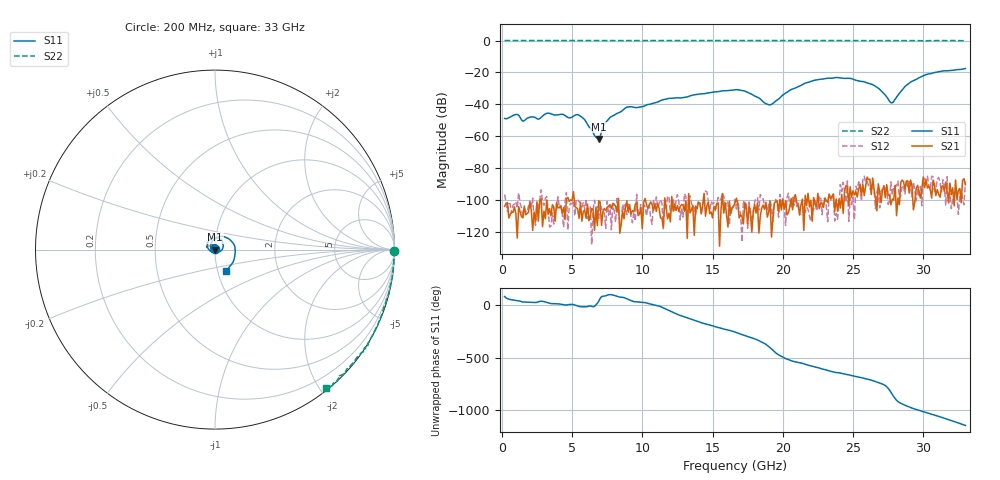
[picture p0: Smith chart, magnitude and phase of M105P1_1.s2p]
# GHZ S RI R 50
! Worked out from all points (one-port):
!   329 points, 200 MHz to 33 GHz, reference 50 ohm
!   lowest |S11| = -61.8 dB at 6.9 GHz (marker M1), VSWR 1.00, Z = 50.1 + j0.0493 ohm
!   |S11| at or under -10 dB: start of sweep to end of sweep
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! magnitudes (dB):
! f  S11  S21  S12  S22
! 200 MHz  -48.8  -103.9  -96.5  0.0
! 1.1 GHz  -46.3  -123.8  -105.2  0.0
! 1.5 GHz  -50.5  -111.0  -111.6  0.0
! 3.3 GHz  -45.5  -108.9  -106.0  0.0
! 5.7 GHz  -48.1  -113.2  -104.4  0.0
! 6.9 GHz  -61.8  -100.5  -111.5  0.0
! 7.3 GHz  -52.4  -105.3  -108.8  0.0
! 7.8 GHz  -47.6  -105.2  -118.7  0.0
! 8.9 GHz  -41.8  -100.5  -109.1  0.0
! 11.2 GHz  -38.2  -105.3  -102.0  0.0
! 16.6 GHz  -30.9  -101.9  -99.7  0.0
! 19.1 GHz  -40.3  -100.5  -100.7  0.0
! 20.6 GHz  -30.7  -99.1  -104.1  0.0
! 22.1 GHz  -25.3  -113.2  -106.2  0.0
! 23.8 GHz  -23.1  -99.3  -108.5  0.0
! 25.8 GHz  -25.9  -97.1  -85.0  -0.1
! 26.8 GHz  -29.8  -89.8  -92.0  0.0
! 27.6 GHz  -38.0  -97.1  -100.6  -0.1
! 27.8 GHz  -39.0  -99.3  -97.0  -0.1
! 29.1 GHz  -26.1  -87.4  -91.2  0.0
! 30.2 GHz  -21.3  -87.5  -88.0  -0.1
! 33 GHz  -17.6  -90.3  -88.3  -0.1
